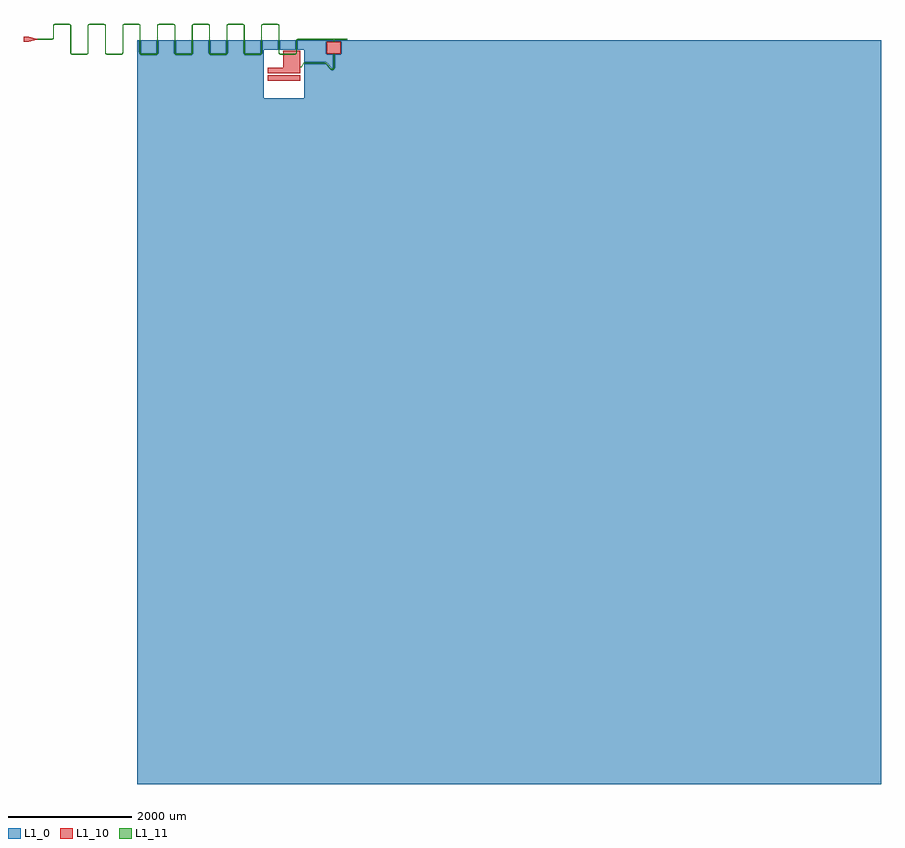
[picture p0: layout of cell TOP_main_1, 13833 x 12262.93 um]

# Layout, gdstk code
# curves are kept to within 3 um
import gdstk
lib = gdstk.Library(unit=1e-6, precision=1e-09)
def R(c, l, rs):  # rectangles x0, y0, x1, y1
    for r in rs: c.add(gdstk.rectangle(r[:2], r[2:], *l))
def P(c, l, *ps):  # polygons
    for p in ps: c.add(gdstk.Polygon(p, *l))
L1_0 = (1, 0)
L1_10 = (1, 10)
L1_11 = (1, 11)

ground_main_1 = lib.new_cell('ground_main_1')
P(ground_main_1, L1_0, [(-2970.581,5647.36),(-2947.651,5637.662),(-2864.142,5543.886),(-2852.048,5541.844),(-2842.987,5550.11),(-2842,5773.2),(-2951.6,5773.2),(-2951.6,5982.4),(-2842,5982.4),(-2842,6000),(-3422.041,6000),(-3425,5845),(-3311,5845),(-3311,5647.4)],
  [(-5699.954,5785.907),(-5690.737,5790.345),(-5687.039,5798.822),(-5687,6000),(-5945,6000),(-5945,5799.868),(-5940.522,5789.605),(-5931,5785.868)],
  [(-5139.954,5785.907),(-5130.737,5790.345),(-5127.039,5798.822),(-5127,6000),(-5385,6000),(-5385,5799.868),(-5380.522,5789.605),(-5371,5785.868)],
  [(-4579.954,5785.907),(-4570.737,5790.345),(-4567.039,5798.822),(-4567,6000),(-4825,6000),(-4825,5799.868),(-4820.522,5789.605),(-4811,5785.868)],
  [(-4019.954,5785.907),(-4010.737,5790.345),(-4007.039,5798.822),(-4007,6000),(-4265,6000),(-4265,5799.868),(-4260.522,5789.605),(-4251,5785.868)],
  [(-3447,5991.4),(-3446.959,5993.113),(-3446.837,5994.822),(-3446.634,5996.523),(-3446.349,5998.213),(-3445.985,5999.887),(-3445.955,6000),(-3705,6000),(-3705,5845),(-3447,5845)],
  [(6000,5770.543),(-2820,5770.543),(-2820.162,5551.866),(-2828.728,5531.775),(-2845.685,5520.784),(-2864.241,5520.23),(-2879.333,5527.859),(-2969.068,5625.028),(-3309.43,5625.4),(-3311,5065),(-3961,5065),(-3961,5770.543),(-4000.118,5770.543),(-4021,5763.868),(-4252.713,5763.909),(-4271.882,5770.543),(-4560.118,5770.543),(-4581,5763.868),(-4812.713,5763.909),(-4831.882,5770.543),(-5120.118,5770.543),(-5141,5763.868),(-5372.713,5763.909),(-5391.882,5770.543),(-5680.118,5770.543),(-5699.287,5763.909),(-5931,5763.868),(-5951.882,5770.543),(-6000,5770.543),(-6000,-6000),(6000,-6000)],
  [(-5953.254,5771.57),(-5962.998,5783.372),(-5966.959,5798.155),(-5967,6000),(-6000,6000),(-6000,5770.543)],
  [(-5393.254,5771.57),(-5402.998,5783.372),(-5406.959,5798.155),(-5407,6000),(-5665,6000),(-5665.041,5798.155),(-5669.823,5781.868),(-5680.118,5770.543)],
  [(-4833.254,5771.57),(-4842.998,5783.372),(-4846.959,5798.155),(-4847,6000),(-5105,6000),(-5105.041,5798.155),(-5109.823,5781.868),(-5120.118,5770.543)],
  [(-4273.254,5771.57),(-4282.998,5783.372),(-4286.959,5798.155),(-4287,6000),(-4545,6000),(-4545.041,5798.155),(-4549.823,5781.868),(-4560.118,5770.543)],
  [(-3961,5845),(-3727,5845),(-3727,6000),(-3985,6000),(-3985.041,5798.155),(-3989.823,5781.868),(-4000.118,5770.543),(-3961,5770.543)],
  [(6000,6000),(-2820,6000),(-2820,5982.4),(-2710.4,5982.4),(-2710.4,5773.2),(-2820,5773.2),(-2820,5770.543),(6000,5770.543)])

top_main_1 = lib.new_cell('TOP_main_1')
P(top_main_1, L1_10, [(-3896,5470),(-3376,5470),(-3376,5560),(-3896,5560),(-3896,5470)],
  [(-3896,5350),(-3376,5350),(-3376,5440),(-3896,5440),(-3896,5350)],
  [(-3646,5561.4),(-3376,5561.4),(-3376,5831.4),(-3646,5831.4),(-3646,5561.4)],
  [(-7631,6021.4),(-7753,6056.4),(-7833,6056.4),(-7833,5976.4),(-7753,5976.4),(-7631,6011.4),(-7606,6011.4),(-7606,6021.4),(-7631,6021.4)],
  [(-2716.4,5779.2),(-2945.6,5779.2),(-2945.6,5957.2),(-2927.6,5957.2),(-2927.6,5797.2),(-2907.2,5797.2),(-2907.2,5957.2),(-2889.2,5957.2),(-2889.2,5797.2),(-2868.8,5797.2),(-2868.8,5957.2),(-2850.8,5957.2),(-2850.8,5797.2),(-2830.4,5797.2),(-2830.4,5957.2),(-2812.4,5957.2),(-2812.4,5797.2),(-2792,5797.2),(-2792,5957.2),(-2774,5957.2),(-2774,5797.2),(-2753.6,5797.2),(-2753.6,5957.2),(-2735.6,5957.2),(-2735.6,5797.2),(-2716.4,5797.2),(-2716.4,5779.2)],
  [(-2945.6,5976.4),(-2716.4,5976.4),(-2716.4,5798.4),(-2734.4,5798.4),(-2734.4,5958.4),(-2754.8,5958.4),(-2754.8,5798.4),(-2772.8,5798.4),(-2772.8,5958.4),(-2793.2,5958.4),(-2793.2,5798.4),(-2811.2,5798.4),(-2811.2,5958.4),(-2831.6,5958.4),(-2831.6,5798.4),(-2849.6,5798.4),(-2849.6,5958.4),(-2870,5958.4),(-2870,5798.4),(-2888,5798.4),(-2888,5958.4),(-2908.4,5958.4),(-2908.4,5798.4),(-2926.4,5798.4),(-2926.4,5958.4),(-2945.6,5958.4),(-2945.6,5976.4)])
R(top_main_1, L1_11, [(-2836,5739.2,-2826,5779.2), (-2836,5976.4,-2826,6011.4), (-3047,6011.4,-2615,6021.4)])
P(top_main_1, L1_11, [(-3376,5576.4),(-3376,5566.4),(-3348.014,5566.4),(-3313.014,5631.4),(-3211,5631.4),(-3211,5641.4),(-3318.986,5641.4),(-3353.986,5576.4)],
  [(-7070.842,5797.361),(-7071.041,6234.502),(-7072.468,6242.203),(-7076.729,6250.566),(-7082.12,6256.247),(-7088.798,6260.339),(-7101,6262.932),(-7331,6262.932),(-7343.202,6260.339),(-7349.88,6256.247),(-7355.271,6250.566),(-7359.007,6243.683),(-7360.836,6236.068),(-7361,6041.4),(-7362.903,6032.884),(-7367.309,6026.821),(-7373.638,6022.804),(-7381,6021.4),(-7606,6021.4),(-7606,6011.4),(-7381,6011.4),(-7368.798,6013.994),(-7362.12,6018.086),(-7356.729,6023.766),(-7352.993,6030.649),(-7351.164,6038.264),(-7350.961,6234.188),(-7349.097,6241.448),(-7343.748,6248.343),(-7338.362,6251.528),(-7331,6252.932),(-7101,6252.932),(-7093.638,6251.528),(-7084.82,6244.688),(-7081.039,6234.188),(-7081,5799.868),(-7078.406,5787.666),(-7070.842,5777.376)],
  [(-6819.43,5769.909),(-6808.798,5772.461),(-6799.787,5778.655),(-6793.594,5787.666),(-6791.041,5798.298),(-6791,6232.932),(-6787.887,6243.649),(-6781.717,6249.819),(-6772.256,6252.893),(-6539.744,6252.893),(-6532.484,6251.029),(-6527.309,6247.512),(-6522.903,6241.448),(-6521.039,6234.188),(-6521.039,6255.323),(-6526,6258.913),(-6533.235,6261.91),(-6541,6262.932),(-6772.57,6262.891),(-6786,6258.913),(-6792.213,6254.145),(-6796.981,6247.932),(-6799.978,6240.697),(-6801,6232.932),(-6801,5799.868),(-6802.903,5791.352),(-6808.252,5784.457),(-6813.638,5781.272),(-6821,5779.868),(-7052.256,5779.907),(-7059.516,5781.771),(-7064.691,5785.288),(-7069.097,5791.352),(-7070.842,5797.361),(-7070.842,5777.376),(-7063.202,5772.461),(-7054.136,5770.032)],
  [(-6259.43,5769.909),(-6248.798,5772.461),(-6239.787,5778.655),(-6233.594,5787.666),(-6231.041,5798.298),(-6231,6232.932),(-6228.526,6242.567),(-6221.717,6249.819),(-6212.256,6252.893),(-5981,6252.932),(-5981,6262.932),(-6212.57,6262.891),(-6226,6258.913),(-6232.213,6254.145),(-6236.981,6247.932),(-6239.978,6240.697),(-6241,6232.932),(-6241.039,5798.612),(-6242.903,5791.352),(-6247.309,5785.288),(-6253.638,5781.272),(-6261,5779.868),(-6492.256,5779.907),(-6501.717,5782.981),(-6508.526,5790.233),(-6511,5799.868),(-6511.041,6234.502),(-6514.27,6246.552),(-6521.039,6255.323),(-6521,5799.868),(-6517.73,5786.248),(-6513.294,5779.794),(-6507.339,5774.708),(-6500.271,5771.336),(-6492.57,5769.909)],
  [(-5699.43,5769.909),(-5688.798,5772.461),(-5679.787,5778.655),(-5673.594,5787.666),(-5671.041,5798.298),(-5670.842,6255.424),(-5677.73,6246.552),(-5680.959,6234.502),(-5681,5799.868),(-5683.474,5790.233),(-5690.283,5782.981),(-5699.744,5779.907),(-5931,5779.868),(-5938.362,5781.272),(-5944.691,5785.288),(-5949.097,5791.352),(-5950.961,5798.612),(-5951.164,6236.068),(-5954.27,6246.552),(-5960.926,6255.227),(-5970.249,6260.94),(-5981,6262.932),(-5981,6252.932),(-5973.638,6251.528),(-5967.309,6247.512),(-5962.903,6241.448),(-5961.039,6234.188),(-5961,5799.868),(-5959.978,5792.103),(-5956.981,5784.868),(-5952.213,5778.655),(-5946,5773.887),(-5932.57,5769.909)],
  [(-5670.372,6237.906),(-5667.887,6243.649),(-5663.748,6248.343),(-5658.362,6251.528),(-5652.256,6252.893),(-5421,6252.932),(-5413.638,6251.528),(-5408.252,6248.343),(-5402.903,6241.448),(-5401,6232.932),(-5401,5799.868),(-5399.978,5792.103),(-5396.981,5784.868),(-5392.213,5778.655),(-5386,5773.887),(-5372.57,5769.909),(-5139.43,5769.909),(-5130.249,5771.86),(-5121.039,5777.477),(-5121.039,5798.612),(-5122.903,5791.352),(-5127.309,5785.288),(-5132.484,5781.771),(-5139.744,5779.907),(-5372.256,5779.907),(-5381.717,5782.981),(-5388.526,5790.233),(-5391,5799.868),(-5391.041,6234.502),(-5394.27,6246.552),(-5402.12,6256.247),(-5410.249,6260.94),(-5419.43,6262.891),(-5652.57,6262.891),(-5661.751,6260.94),(-5670.842,6255.424)],
  [(-4581,5779.868),(-4812.256,5779.907),(-4821.717,5782.981),(-4828.526,5790.233),(-4831,5799.868),(-4831.041,6234.502),(-4834.27,6246.552),(-4840.926,6255.227),(-4850.249,6260.94),(-4859.43,6262.891),(-5091,6262.932),(-5103.202,6260.339),(-5113.294,6253.006),(-5119.007,6243.683),(-5121,6232.932),(-5121.039,5777.477),(-5113.594,5787.666),(-5111,5799.868),(-5110.961,6234.188),(-5109.097,6241.448),(-5104.691,6247.512),(-5098.362,6251.528),(-5091,6252.932),(-4859.744,6252.893),(-4850.283,6249.819),(-4843.474,6242.567),(-4841,6232.932),(-4840.959,5798.298),(-4837.73,5786.248),(-4831.074,5777.573),(-4821.751,5771.86),(-4812.57,5769.909),(-4581,5769.868)],
  [(-4579.43,5769.909),(-4570.249,5771.86),(-4560.926,5777.573),(-4554.27,5786.248),(-4551.164,5796.732),(-4550.961,6234.188),(-4549.097,6241.448),(-4544.691,6247.512),(-4538.362,6251.528),(-4531,6252.932),(-4299.744,6252.893),(-4290.283,6249.819),(-4283.474,6242.567),(-4281,6232.932),(-4280.959,5798.298),(-4277.73,5786.248),(-4270.842,5777.376),(-4271.041,6234.502),(-4275.019,6247.932),(-4279.787,6254.145),(-4286,6258.913),(-4293.235,6261.91),(-4301,6262.932),(-4532.57,6262.891),(-4546,6258.913),(-4552.213,6254.145),(-4556.981,6247.932),(-4559.978,6240.697),(-4561,6232.932),(-4561.039,5798.612),(-4562.903,5791.352),(-4567.309,5785.288),(-4573.638,5781.272),(-4581,5779.868),(-4581,5769.868)],
  [(-4019.43,5769.909),(-4008.798,5772.461),(-3999.787,5778.655),(-3993.594,5787.666),(-3991.041,5798.298),(-3991,6232.932),(-3987.887,6243.649),(-3981.717,6249.819),(-3972.256,6252.893),(-3739.744,6252.893),(-3732.484,6251.029),(-3727.309,6247.512),(-3722.903,6241.448),(-3721.039,6234.188),(-3721.039,6255.323),(-3726,6258.913),(-3733.235,6261.91),(-3741,6262.932),(-3972.57,6262.891),(-3986,6258.913),(-3992.213,6254.145),(-3996.981,6247.932),(-3999.978,6240.697),(-4001,6232.932),(-4001,5799.868),(-4002.903,5791.352),(-4008.252,5784.457),(-4013.638,5781.272),(-4021,5779.868),(-4252.256,5779.907),(-4259.516,5781.771),(-4264.691,5785.288),(-4269.097,5791.352),(-4270.842,5797.361),(-4270.842,5777.376),(-4263.202,5772.461),(-4254.136,5770.032)],
  [(-3459.43,5769.909),(-3450.249,5771.86),(-3440.926,5777.573),(-3435.019,5784.868),(-3431.369,5795.175),(-3430.961,5992.656),(-3427.887,6002.117),(-3421.717,6008.287),(-3411,6011.4),(-3047,6011.4),(-3047,6021.4),(-3411,6021.4),(-3421.751,6019.407),(-3428.634,6015.671),(-3435.271,6009.034),(-3439.007,6002.151),(-3440.836,5994.536),(-3441.039,5798.612),(-3442.903,5791.352),(-3448.252,5784.457),(-3453.638,5781.272),(-3461,5779.868),(-3697.18,5780.847),(-3706.41,5787.119),(-3710.961,5798.612),(-3711,6232.932),(-3713.594,6245.134),(-3721.039,6255.323),(-3721,5799.868),(-3717.73,5786.248),(-3713.294,5779.794),(-3707.339,5774.708),(-3700.271,5771.336),(-3692.57,5769.909)],
  [(-2826,5739.2),(-2836,5739.2),(-2836.162,5552.736),(-2840.703,5542.39),(-2850.126,5536.156),(-2860.189,5535.718),(-2869.189,5540.24),(-2950.872,5632.421),(-2957.119,5637.29),(-2964.423,5640.354),(-2972.275,5641.4),(-3211,5641.4),(-3211,5631.4),(-2967.119,5630.724),(-2957.284,5624.639),(-2875.166,5532.195),(-2868.663,5528.078),(-2861.327,5525.751),(-2847.579,5526.481),(-2839.228,5530.4),(-2833.452,5535.486),(-2828.506,5543.272),(-2826.159,5552.193)])
top_main_1.add(gdstk.Reference(ground_main_1, (0,0)))

lib.write_gds('TOP_main_1.gds')
